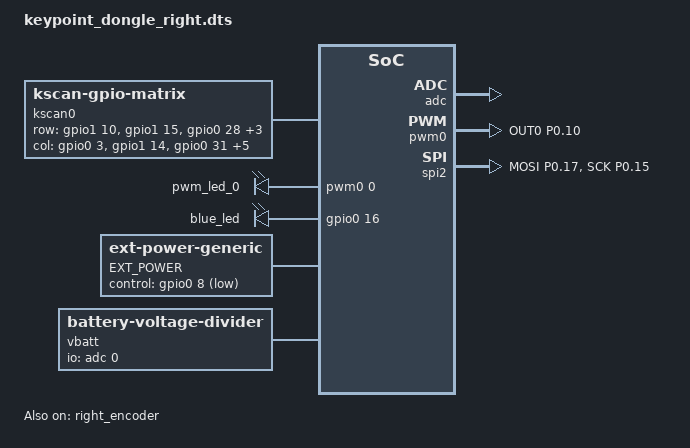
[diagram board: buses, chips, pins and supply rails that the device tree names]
/*
*
* Copyright (c) 2025 ZitaoTech
* SPDX-License-Identifier: MIT
*
*/

#include "keypoint_dongle.dtsi"

/ {
    chosen {
        zmk,backlight = &backlight;
        zmk,battery = &vbatt;
    }; 
    kscan0: kscan {
        compatible = "zmk,kscan-gpio-matrix";
        diode-direction = "col2row";
        wakeup-source;
        row-gpios
            = <&gpio1 10 (GPIO_ACTIVE_HIGH | GPIO_PULL_DOWN)>
            , <&gpio1 15  (GPIO_ACTIVE_HIGH | GPIO_PULL_DOWN)>
            , <&gpio0 28 (GPIO_ACTIVE_HIGH | GPIO_PULL_DOWN)>
            , <&gpio0 30  (GPIO_ACTIVE_HIGH | GPIO_PULL_DOWN)>
            , <&gpio0 12  (GPIO_ACTIVE_HIGH | GPIO_PULL_DOWN)>
            , <&gpio1 9  (GPIO_ACTIVE_HIGH | GPIO_PULL_DOWN)>
            ;
        col-gpios
            = <&gpio0 3  GPIO_ACTIVE_HIGH>
            , <&gpio1 14  GPIO_ACTIVE_HIGH>
            , <&gpio0 31  GPIO_ACTIVE_HIGH>
            , <&gpio0 29 GPIO_ACTIVE_HIGH>
            , <&gpio1 13 GPIO_ACTIVE_HIGH>
            , <&gpio1 11 GPIO_ACTIVE_HIGH>
            , <&gpio0 5 GPIO_ACTIVE_HIGH>
            , <&gpio0 27 GPIO_ACTIVE_HIGH>
            ;
    };


    backlight: pwmleds {
        compatible = "pwm-leds";
        pwm_led_0 {
            pwms = <&pwm0 0 PWM_MSEC(10) PWM_POLARITY_NORMAL>;
        };
    };


    leds {
        compatible = "gpio-leds";
        blue_led: led_0 {
            gpios = <&gpio0 16 GPIO_ACTIVE_HIGH>;
        };
    };
    // Node name must match original "EXT_POWER" label to preserve user settings.
    EXT_POWER {
        compatible = "zmk,ext-power-generic";
        control-gpios = <&gpio0 8 GPIO_ACTIVE_LOW>;
    };
    vbatt: vbatt {
        compatible = "zmk,battery-voltage-divider";
        io-channels = <&adc 0>;
        output-ohms = <2000000>;
        full-ohms = <2820000>;  // 2000000 + 820000
    };


};

&default_transform {
    col-offset = <9>;
};

&adc {
    status = "okay";
};

&gpiote {
    status = "okay";
};

&gpio0 {
    status = "okay";
};

&gpio1 {
    status = "okay";
};

&pwm0 {
    status = "okay";
    pinctrl-0 = <&pwm0_default>;
    pinctrl-1 = <&pwm0_sleep>;
    pinctrl-names = "default", "sleep";
};


&right_encoder {
    status = "okay";
};

 

lpm_view_spi: &spi2 {
    compatible = "nordic,nrf-spim";
    pinctrl-0 = <&spi2_default>;
    pinctrl-1 = <&spi2_sleep>;
    pinctrl-names = "default", "sleep";
    cs-gpios = <&gpio0 13 (GPIO_ACTIVE_HIGH | GPIO_PULL_DOWN) >;
};


&pinctrl {
    pwm0_default:pwm0_default{
        group1{
            psels = <NRF_PSEL(PWM_OUT0, 0, 10)>; // Keyboard backlight unreal
        };
    };

    pwm0_sleep: pwm0_sleep {
        group1 {
            psels = <NRF_PSEL(PWM_OUT0, 0, 10)>;
            bias-pull-down;
        };
    };

    spi2_default: spi2_default {
        group1 {
            psels = <NRF_PSEL(SPIM_MOSI, 0, 17)>,
            <NRF_PSEL(SPIM_SCK, 0, 15)>;
        };
    };
    spi2_sleep: spi2_sleep {
        group1 {
            psels = <NRF_PSEL(SPIM_MOSI, 0, 17)>,
            <NRF_PSEL(SPIM_SCK, 0, 15)>;
            low-power-enable;
        };
    };

};
